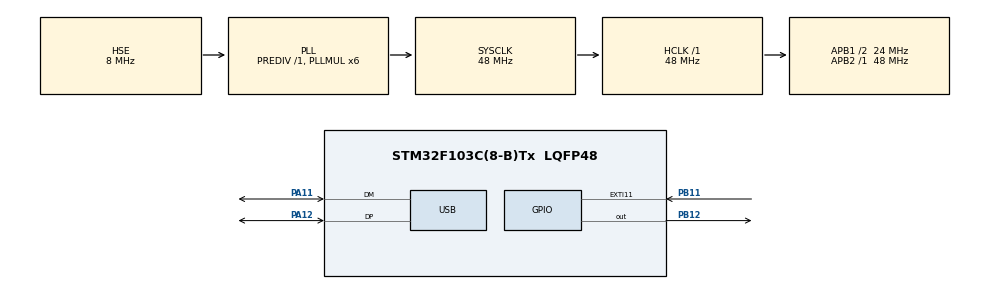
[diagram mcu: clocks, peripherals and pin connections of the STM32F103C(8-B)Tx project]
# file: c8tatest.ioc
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Mcu.Family=STM32F1
Mcu.Name=STM32F103C(8-B)Tx
Mcu.Package=LQFP48
NVIC.EXTI15_10_IRQn=true\:0\:0\:false\:false\:true\:true\:true
NVIC.PriorityGroup=NVIC_PRIORITYGROUP_4
NVIC.USB_LP_CAN1_RX0_IRQn=true\:0\:0\:false\:false\:true\:false\:true
PA11.Mode=Device
PA11.Signal=USB_DM
PA12.Mode=Device
PA12.Signal=USB_DP
PB11.GPIO_PuPd=GPIO_NOPULL
PB11.Signal=GPXTI11
PB12.Signal=GPIO_Output
PC14-OSC32_IN.Mode=LSE-External-Oscillator
PC14-OSC32_IN.Signal=RCC_OSC32_IN
PC15-OSC32_OUT.Mode=LSE-External-Oscillator
PC15-OSC32_OUT.Signal=RCC_OSC32_OUT
PD0-OSC_IN.Mode=HSE-External-Oscillator
PD0-OSC_IN.Signal=RCC_OSC_IN
PD1-OSC_OUT.Mode=HSE-External-Oscillator
PD1-OSC_OUT.Signal=RCC_OSC_OUT
ProjectManager.HeapSize=0x200
ProjectManager.StackSize=0x400
ProjectManager.TargetToolchain=MDK-ARM V5
RCC.AHBFreq_Value=48000000
RCC.APB1CLKDivider=RCC_HCLK_DIV2
RCC.APB1Freq_Value=24000000
RCC.APB1TimFreq_Value=48000000
RCC.APB2Freq_Value=48000000
RCC.APB2TimFreq_Value=48000000
RCC.HCLKFreq_Value=48000000
RCC.PLLMUL=RCC_PLL_MUL6
RCC.SYSCLKFreq_VALUE=48000000
RCC.SYSCLKSource=RCC_SYSCLKSOURCE_PLLCLK
RCC.USBFreq_Value=48000000
USB_DEVICE.CLASS_NAME_FS=HID
USB_DEVICE.VirtualMode=Hid
USB_DEVICE.VirtualModeFS=Hid_FS
VP_SYS_VS_ND.Mode=No_Debug
VP_USB_DEVICE_VS_USB_DEVICE_HID_FS.Mode=HID_FS
board=custom

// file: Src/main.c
/* USER CODE BEGIN Header */
/**
  ******************************************************************************
  * @file           : main.c
  * @brief          : Main program body
  ******************************************************************************
  * @attention
  *
  * <h2><center>&copy; Copyright (c) 2019 STMicroelectronics.
  * All rights reserved.</center></h2>
  *
  * This software component is licensed by ST under BSD 3-Clause license,
  * the "License"; You may not use this file except in compliance with the
  * License. You may obtain a copy of the License at:
  *                        opensource.org/licenses/BSD-3-Clause
  *
  ******************************************************************************
  */
/* USER CODE END Header */

#include "main.h"
#include "usb_device.h"

/* USER CODE BEGIN PD */
#define USB_HID_KEY_A     0x04

#define USB_HID_KEY_B     0x05

#define USB_HID_KEY_C     0x06

/* USER CODE END PD */

void SystemClock_Config(void);
static void MX_GPIO_Init(void);
/* USER CODE BEGIN PFP */
int sw=0;
extern USBD_HandleTypeDef hUsbDeviceFS;
/* USER CODE END PFP */

int main(void)
{
  /* USER CODE BEGIN 1 */
	struct keyboardHID_t {

      uint8_t id;

      uint8_t modifiers;

      uint8_t key1;

      uint8_t key2;

      uint8_t key3;

  };

  struct keyboardHID_t keyboardHID;

  keyboardHID.id = 1;

  keyboardHID.modifiers = 0;

  keyboardHID.key1 = 0;

  keyboardHID.key2 = 0;

  keyboardHID.key3 = 0;
  /* USER CODE END 1 */

  /* MCU Configuration--------------------------------------------------------*/

  /* Reset of all peripherals, Initializes the Flash interface and the Systick. */
  HAL_Init();

  /* Configure the system clock */
  SystemClock_Config();

  /* Initialize all configured peripherals */
  MX_GPIO_Init();
  MX_USB_DEVICE_Init();

  /* Infinite loop */
  while (1)
  {

    /* USER CODE BEGIN 3 */
		if(sw==1)
		{
			keyboardHID.modifiers = 0;

			keyboardHID.key1 = USB_HID_KEY_B;

			USBD_HID_SendReport(&hUsbDeviceFS, &keyboardHID, sizeof(struct keyboardHID_t));
			HAL_Delay(50);
			keyboardHID.modifiers = 0;

			keyboardHID.key1 = 0;

			USBD_HID_SendReport(&hUsbDeviceFS, &keyboardHID, sizeof(struct keyboardHID_t));

			sw=0;
		}
  }
  /* USER CODE END 3 */
}

void SystemClock_Config(void)
{
  RCC_OscInitTypeDef RCC_OscInitStruct = {0};
  RCC_ClkInitTypeDef RCC_ClkInitStruct = {0};
  RCC_PeriphCLKInitTypeDef PeriphClkInit = {0};

  /** Initializes the CPU, AHB and APB busses clocks
  */
  RCC_OscInitStruct.OscillatorType = RCC_OSCILLATORTYPE_HSE;
  RCC_OscInitStruct.HSEState = RCC_HSE_ON;
  RCC_OscInitStruct.HSEPredivValue = RCC_HSE_PREDIV_DIV1;
  RCC_OscInitStruct.HSIState = RCC_HSI_ON;
  RCC_OscInitStruct.PLL.PLLState = RCC_PLL_ON;
  RCC_OscInitStruct.PLL.PLLSource = RCC_PLLSOURCE_HSE;
  RCC_OscInitStruct.PLL.PLLMUL = RCC_PLL_MUL6;
  if (HAL_RCC_OscConfig(&RCC_OscInitStruct) != HAL_OK)
  {
    Error_Handler();
  }
  /** Initializes the CPU, AHB and APB busses clocks
  */
  RCC_ClkInitStruct.ClockType = RCC_CLOCKTYPE_HCLK|RCC_CLOCKTYPE_SYSCLK
                              |RCC_CLOCKTYPE_PCLK1|RCC_CLOCKTYPE_PCLK2;
  RCC_ClkInitStruct.SYSCLKSource = RCC_SYSCLKSOURCE_PLLCLK;
  RCC_ClkInitStruct.AHBCLKDivider = RCC_SYSCLK_DIV1;
  RCC_ClkInitStruct.APB1CLKDivider = RCC_HCLK_DIV2;
  RCC_ClkInitStruct.APB2CLKDivider = RCC_HCLK_DIV1;

  if (HAL_RCC_ClockConfig(&RCC_ClkInitStruct, FLASH_LATENCY_1) != HAL_OK)
  {
    Error_Handler();
  }
  PeriphClkInit.PeriphClockSelection = RCC_PERIPHCLK_USB;
  PeriphClkInit.UsbClockSelection = RCC_USBCLKSOURCE_PLL;
  if (HAL_RCCEx_PeriphCLKConfig(&PeriphClkInit) != HAL_OK)
  {
    Error_Handler();
  }
}

static void MX_GPIO_Init(void)
{
  GPIO_InitTypeDef GPIO_InitStruct = {0};

  /* GPIO Ports Clock Enable */
  __HAL_RCC_GPIOC_CLK_ENABLE();
  __HAL_RCC_GPIOD_CLK_ENABLE();
  __HAL_RCC_GPIOB_CLK_ENABLE();
  __HAL_RCC_GPIOA_CLK_ENABLE();

  /*Configure GPIO pin Output Level */
  HAL_GPIO_WritePin(GPIOB, GPIO_PIN_12, GPIO_PIN_RESET);

  /*Configure GPIO pin : PB11 */
  GPIO_InitStruct.Pin = GPIO_PIN_11;
  GPIO_InitStruct.Mode = GPIO_MODE_IT_RISING;
  GPIO_InitStruct.Pull = GPIO_NOPULL;
  HAL_GPIO_Init(GPIOB, &GPIO_InitStruct);

  /*Configure GPIO pin : PB12 */
  GPIO_InitStruct.Pin = GPIO_PIN_12;
  GPIO_InitStruct.Mode = GPIO_MODE_OUTPUT_PP;
  GPIO_InitStruct.Pull = GPIO_NOPULL;
  GPIO_InitStruct.Speed = GPIO_SPEED_FREQ_LOW;
  HAL_GPIO_Init(GPIOB, &GPIO_InitStruct);

  /* EXTI interrupt init*/
  HAL_NVIC_SetPriority(EXTI15_10_IRQn, 0, 0);
  HAL_NVIC_EnableIRQ(EXTI15_10_IRQn);

}

/* USER CODE BEGIN 4 */
void HAL_GPIO_EXTI_Callback(uint16_t GPIO_PIN)
{
	/*
	if(GPIO_PIN==GPIO_PIN_11)
	{
		sw=1;
	}
	*/
	switch(GPIO_PIN){
		case GPIO_PIN_11: sw=1; break;
	}
}
/* USER CODE END 4 */

void Error_Handler(void)
{
}

/************************ (C) COPYRIGHT STMicroelectronics *****END OF FILE****/
